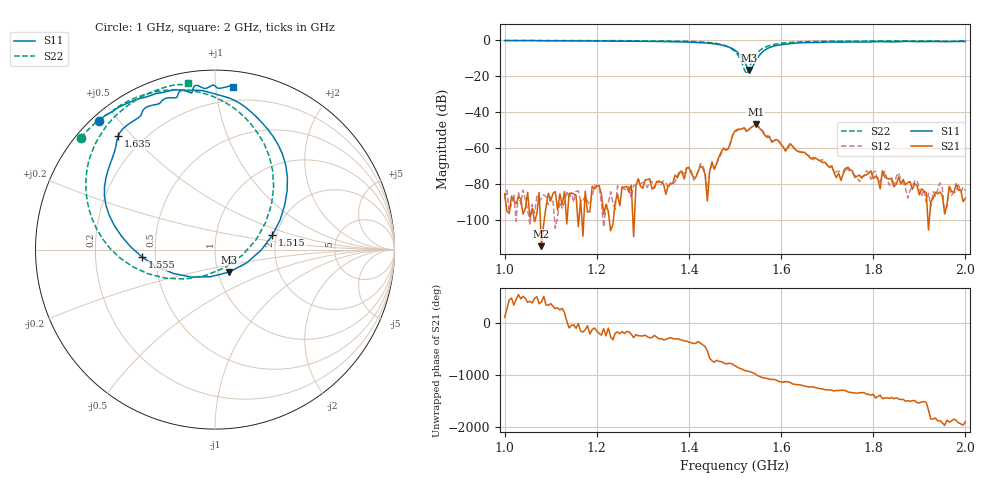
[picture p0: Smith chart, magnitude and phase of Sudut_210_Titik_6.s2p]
# Hz S RI R 50
! CMT, C1220, 16058040, 17.2.0/1
! Date: 14/08/2018 12:23:22
! Data: Format (Calibration Info)
! Freq  S11: Re/Im (F2)  S21: Re/Im (F2)  S12: Re/Im (F2)  S22: Re/Im (F2)
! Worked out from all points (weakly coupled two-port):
!   201 points, 1 GHz to 2 GHz, reference 50 ohm
!   highest |S21| = -46.75 dB at 1.545 GHz (marker M1); lowest = -114.3 dB at 1.08 GHz (marker M2)
!   lowest |S11| = -16.6 dB at 1.53 GHz (marker M3), VSWR 1.35, Z = 56.8 - j14.5 ohm
!   |S11| at or under -10 dB: 1.516 GHz to 1.549 GHz (32.82 MHz wide, 2.14 % of centre)
!   |S22| runs from -18.8 to -0.2 dB; largest |S21 - S12| = 0.00027
!   S11 on the Smith chart (normalised r, x): 1 GHz: 0.02, +0.44; 1.515 GHz: 1.90, +0.34; 1.555 GHz: 0.42, -0.04; 1.635 GHz: 0.11, +0.46; 2 GHz: 0.10, +1.11
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1e9  -0.6457 0.7158  -2.29e-05 4.97e-05  -2.98e-07 3.98e-05  -0.7479 0.6242
1.08e9  -0.5599 0.7764  1.13e-06 1.55e-06  2.64e-05 2.96e-05  -0.6905 0.6834
1.17e9  -0.4687 0.8238  -3.54e-06 -7.1e-07  3.4e-05 -9.9e-06  -0.6114 0.7487
1.335e9  -0.2025 0.8888  5.57e-05 9.9e-05  3.39e-05 0.000123  -0.3962 0.8622
1.395e9  -0.0389 0.8782  0.000265 8.3e-05  0.000285 4.45e-05  -0.2397 0.8906
1.41e9  0.0166 0.8626  0.000135 -7.39e-05  0.000104 -7.86e-05  -0.1835 0.8903
1.425e9  0.0828 0.8428  0.000302 -0.00012  0.000352 -0.000145  -0.1156 0.8826
1.44e9  0.1418 0.8127  -3.38e-05 -5.16e-06  -5.46e-05 -2.4e-05  -0.0367 0.8625
1.45e9  0.1846 0.7811  0.000414 -1.38e-05  0.000346 -2.97e-05  0.0251 0.8368
1.5e9  0.4021 0.3309  -0.000537 -0.00296  -0.000547 -0.00271  0.3266 0.3508
1.515e9  0.3195 0.0793  -0.00322 -0.0011  -0.00322 -0.00124  0.2293 0.0557
1.53e9  0.0807 -0.1245  -0.00291 0.0015  -0.00297 0.00155  -0.0519 -0.144
1.545e9  -0.2299 -0.1334  -0.000406 0.00458  -0.000474 0.00453  -0.3726 -0.1347
1.555e9  -0.4044 -0.0428  0.00216 0.00261  0.00218 0.00282  -0.5274 -0.0483
1.635e9  -0.5392 0.634  -0.000192 -0.000812  -0.000188 -0.000784  -0.6779 0.5642
1.67e9  -0.4279 0.7337  -0.000471 -0.000286  -0.000417 -0.000231  -0.6175 0.671
1.73e9  -0.3123 0.8128  -0.000107 6.79e-05  -0.000149 0.000168  -0.52 0.7751
1.745e9  -0.2935 0.831  -0.000124 0.00027  -6.83e-05 0.000245  -0.4973 0.7942
1.825e9  -0.1559 0.8819  0.000159 -1.14e-06  0.000151 0.000172  -0.3845 0.863
1.835e9  -0.1367 0.8737  0.000136 -2.34e-05  6.29e-05 -6.94e-05  -0.3711 0.8698
1.855e9  -0.1232 0.8936  0.000146 -6.29e-05  0.000154 -0.000139  -0.3439 0.8814
2e9  0.0975 0.9065  -7.01e-06 -4.03e-05  -2.76e-05 -6.04e-05  -0.1485 0.9279
